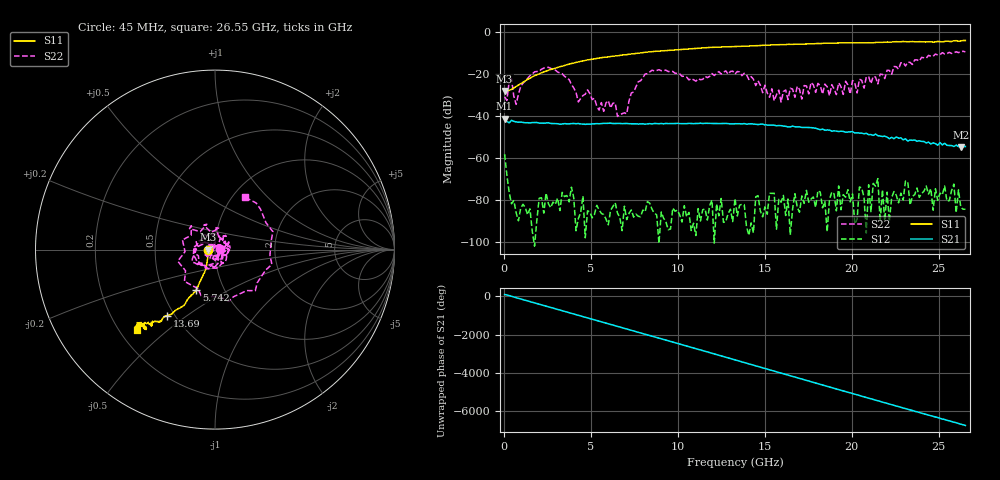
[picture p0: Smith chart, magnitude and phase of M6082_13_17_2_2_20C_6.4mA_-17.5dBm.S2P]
!  2-Port S-parameters saved by WinCal
! VAR MeasName=S-Parameters (CALIBRATED_DATA) read from VNA (C)
! VAR MeasDate=10/16/2015 1:51:05 PM
! VAR NAME=M6082_13_17_2_2_20C_6.4mA_-17.5dBm
! VAR FILENAME=M6082_13_17_2_2_20C_6.4mA_-17.5dBm.S2P
! VAR DATE=10/16/2015 1:51:05 PM
! VAR PHYS_PORTS=2,1
! VAR ObjTypeName=DATASET
! VAR IndexType=Frequency
# Hz S DB R 50
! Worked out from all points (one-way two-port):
!   201 points, 45 MHz to 26.55 GHz, reference 50 ohm
!   highest |S21| = -41.27 dB at 45 MHz (marker M1); lowest = -54.7 dB at 26.28 GHz (marker M2)
!   lowest |S11| = -28.2 dB at 45 MHz (marker M3), VSWR 1.08, Z = 46.2 - j0.0161 ohm
!   |S11| at or under -10 dB: start of sweep to 7.812 GHz
!   |S22| runs from -40.3 to -9.2 dB; largest |S21 - S12| = 0.0092
!   S11 on the Smith chart (normalised r, x): 45 MHz: 0.92, -0.00; 5.742 GHz: 0.74, -0.35; 13.69 GHz: 0.45, -0.42; 26.55 GHz: 0.27, -0.40
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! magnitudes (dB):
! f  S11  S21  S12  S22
! 45 MHz  -28.2  -41.3  -58.2  -30.9
! 442.5 MHz  -27.4  -42.1  -81.8  -22.4
! 707.5 MHz  -26.0  -42.9  -86.0  -34.5
! 2.43 GHz  -18.7  -43.4  -76.7  -16.9
! 4.55 GHz  -13.8  -43.9  -78.2  -30.3
! 5.742 GHz  -12.1  -43.5  -87.0  -37.8
! 7.067 GHz  -10.8  -43.6  -89.4  -39.0
! 7.73 GHz  -10.1  -43.9  -87.8  -23.7
! 8.922 GHz  -9.1  -43.7  -100.7  -18.0
! 13.29 GHz  -6.9  -43.7  -79.3  -20.0
! 13.69 GHz  -6.8  -43.8  -82.0  -20.8
! 15.95 GHz  -6.0  -44.6  -81.1  -33.4
! 17.8 GHz  -5.7  -45.7  -78.6  -25.1
! 21.11 GHz  -5.2  -48.9  -85.6  -24.6
! 21.51 GHz  -5.0  -49.4  -69.8  -24.7
! 21.64 GHz  -5.0  -49.6  -90.4  -20.1
! 22.17 GHz  -4.8  -50.9  -90.2  -18.3
! 22.97 GHz  -4.5  -51.4  -80.1  -14.6
! 23.1 GHz  -4.6  -50.9  -71.0  -16.2
! 23.36 GHz  -4.6  -51.5  -82.5  -14.5
! 26.28 GHz  -4.3  -54.7  -83.5  -9.4
! 26.55 GHz  -4.1  -54.6  -84.5  -9.5
